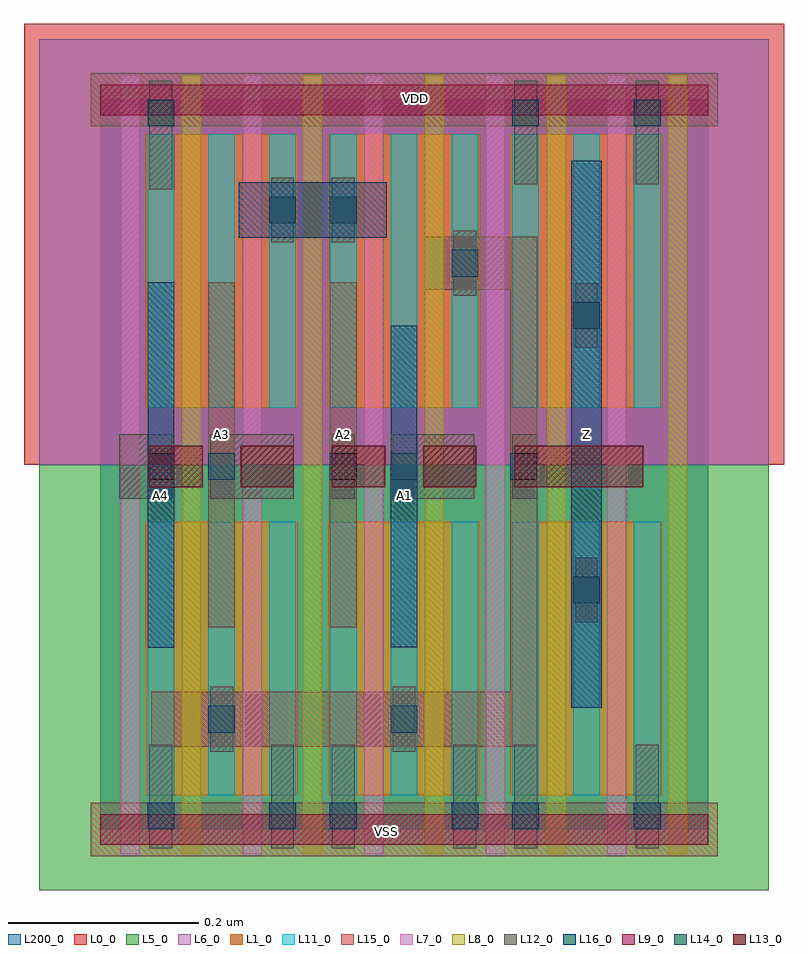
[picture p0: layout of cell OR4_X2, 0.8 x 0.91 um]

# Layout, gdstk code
import gdstk
lib = gdstk.Library(unit=1e-6, precision=1e-09)
def R(c, l, rs):  # rectangles x0, y0, x1, y1
    for r in rs: c.add(gdstk.rectangle(r[:2], r[2:], *l))
def A(c, l, x, y, w, h, nx, ny, dx, dy):  # array of equal rectangles
    R(c, l, [(x+i*dx, y+j*dy, x+i*dx+w, y+j*dy+h) for i in range(nx) for j in range(ny)])
def P(c, l, *ps):  # polygons
    for p in ps: c.add(gdstk.Polygon(p, *l))
L0_0 = (0, 0)
L1_0 = (1, 0)
L5_0 = (5, 0)
L6_0 = (6, 0)
L7_0 = (7, 0)
L8_0 = (8, 0)
L9_0 = (9, 0)
L11_0 = (11, 0)
L12_0 = (12, 0)
L13_0 = (13, 0)
L14_0 = (14, 0)
L15_0 = (15, 0)
L16_0 = (16, 0)
L200_0 = (200, 0)

or4_x2 = lib.new_cell('OR4_X2')
R(or4_x2, L0_0, [(-0.08,0.384,0.72,0.848)])
A(or4_x2, L1_0, 0.048, 0.036, 0.16, 0.288, 3, 2, 0.192, 0.408)
R(or4_x2, L5_0, [(-0.064,-0.064,0.704,0.384)])
R(or4_x2, L6_0, [(-0.064,0.384,0.704,0.832)])
A(or4_x2, L7_0, 0.022, -0.026, 0.02, 0.82, 5, 1, 0.128, 0)
A(or4_x2, L8_0, 0.086, -0.026, 0.02, 0.82, 5, 1, 0.128, 0)
R(or4_x2, L9_0, [(0,-0.016,0.64,0.016), (0,0.752,0.64,0.784)])
A(or4_x2, L11_0, 0.05, 0.036, 0.028, 0.288, 9, 2, 0.064, 0.408)
R(or4_x2, L12_0, [(0.052,-0.02,0.076,0.089), (0.18,-0.02,0.204,0.089), (0.244,-0.02,0.268,0.089), (0.372,-0.02,0.396,0.089), (0.436,-0.02,0.46,0.089), (0.564,-0.02,0.588,0.089), (0.116,0.082,0.14,0.15), (0.308,0.082,0.332,0.15), (0.5,0.218,0.524,0.286), (0.02,0.348,0.076,0.416), (0.116,0.348,0.204,0.416), (0.244,0.348,0.268,0.416), (0.308,0.348,0.394,0.416), (0.434,0.348,0.46,0.416), (0.5,0.507,0.524,0.575), (0.372,0.562,0.396,0.63), (0.18,0.618,0.204,0.686), (0.244,0.618,0.268,0.686), (0.052,0.674,0.076,0.788), (0.436,0.679,0.46,0.788), (0.564,0.679,0.588,0.788)])
A(or4_x2, L13_0, 0.052, 0.36, 0.056, 0.044, 4, 1, 0.096, 0)
R(or4_x2, L13_0, [(0.436,0.36,0.572,0.404)])
R(or4_x2, L14_0, [(0.05,0,0.078,0.028), (0.178,0,0.206,0.028), (0.242,0,0.27,0.028), (0.37,0,0.398,0.028), (0.434,0,0.462,0.028), (0.562,0,0.59,0.028), (0.114,0.102,0.142,0.13), (0.306,0.102,0.334,0.13), (0.498,0.238,0.526,0.266), (0.05,0.368,0.078,0.396), (0.114,0.368,0.142,0.396), (0.242,0.368,0.27,0.396), (0.306,0.368,0.334,0.396), (0.432,0.368,0.46,0.396), (0.498,0.527,0.526,0.555), (0.37,0.582,0.398,0.61), (0.178,0.638,0.206,0.666), (0.242,0.638,0.27,0.666), (0.05,0.74,0.078,0.768), (0.434,0.74,0.462,0.768), (0.562,0.74,0.59,0.768)])
R(or4_x2, L15_0, [(-0.01,-0.028,0.65,0.028), (0.114,0.213,0.142,0.576), (0.242,0.213,0.27,0.576), (-0.01,0.74,0.65,0.796)])
P(or4_x2, L15_0, [(0.342,0.568),(0.432,0.568),(0.432,0.145),(0.054,0.145),(0.054,0.087),(0.46,0.087),(0.46,0.624),(0.342,0.624)])
R(or4_x2, L16_0, [(0.496,0.128,0.528,0.704), (0.05,0.191,0.078,0.576), (0.306,0.192,0.334,0.53), (0.146,0.623,0.302,0.681)])
R(or4_x2, L200_0, [(0,0,0.64,0.768)])
or4_x2.add(gdstk.Label('VSS', (0.302,-0.002), layer=15, texttype=20))
or4_x2.add(gdstk.Label('A3', (0.128,0.416), layer=15, texttype=20))
or4_x2.add(gdstk.Label('A2', (0.256,0.416), layer=15, texttype=20))
or4_x2.add(gdstk.Label('VDD', (0.332,0.769), layer=15, texttype=20))
or4_x2.add(gdstk.Label('A4', (0.064,0.352), layer=16, texttype=20))
or4_x2.add(gdstk.Label('A1', (0.32,0.352), layer=16, texttype=20))
or4_x2.add(gdstk.Label('Z', (0.512,0.416), layer=16, texttype=20))

lib.write_gds('OR4_X2.gds')
